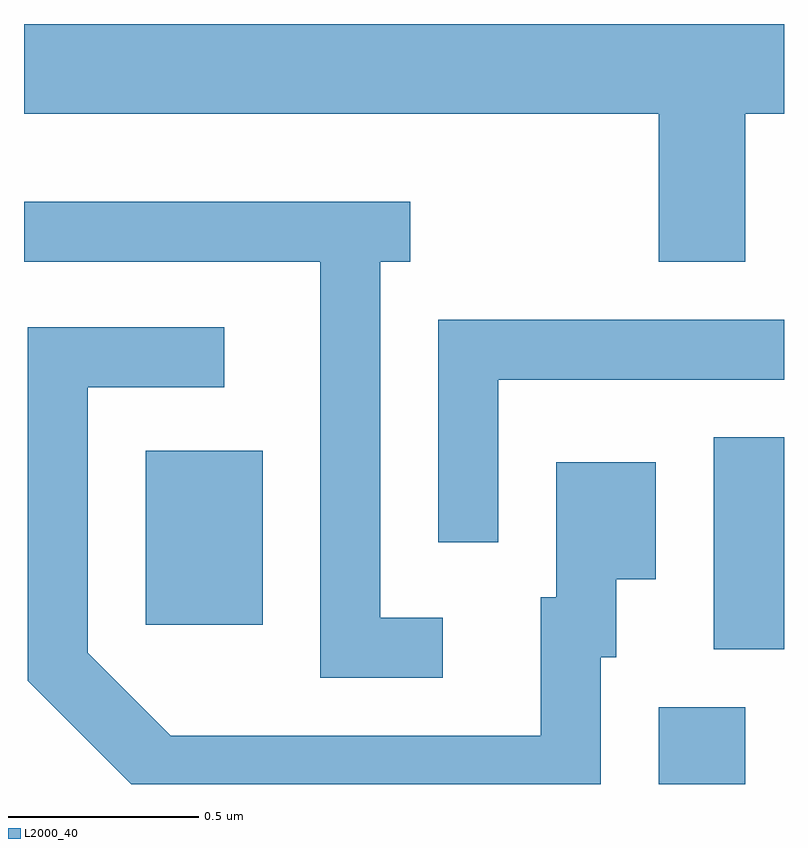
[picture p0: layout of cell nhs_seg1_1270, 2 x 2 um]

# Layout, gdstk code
import gdstk
lib = gdstk.Library(unit=1e-6, precision=1e-09)
def R(c, l, rs):  # rectangles x0, y0, x1, y1
    for r in rs: c.add(gdstk.rectangle(r[:2], r[2:], *l))
def P(c, l, *ps):  # polygons
    for p in ps: c.add(gdstk.Polygon(p, *l))
L2000_40 = (2000, 40)

nhs_seg1_1270 = lib.new_cell('nhs_seg1_1270')
R(nhs_seg1_1270, L2000_40, [(196.281,886.712,196.509,886.914), (196.426,887.066,196.611,887.624), (194.931,887.131,195.239,887.589)])
P(nhs_seg1_1270, L2000_40, [(196.509,888.476),(196.611,888.476),(196.611,888.712),(194.611,888.712),(194.611,888.476),(196.281,888.476),(196.281,888.086),(196.509,888.086)],
  [(195.713,887.149),(195.549,887.149),(195.549,888.086),(195.628,888.086),(195.628,888.244),(194.611,888.244),(194.611,888.086),(195.391,888.086),(195.391,886.991),(195.713,886.991)],
  [(195.859,887.776),(196.611,887.776),(196.611,887.934),(195.701,887.934),(195.701,887.348),(195.859,887.348)],
  [(196.129,887.046),(196.169,887.046),(196.169,887.251),(196.274,887.251),(196.274,887.559),(196.011,887.559),(196.011,887.204),(195.971,887.204),(195.971,886.839),(194.997,886.839),(194.779,887.057),(194.779,887.756),(195.138,887.756),(195.138,887.914),(194.621,887.914),(194.621,886.984),(194.893,886.712),(196.129,886.712)])

lib.write_gds('nhs_seg1_1270.gds')
